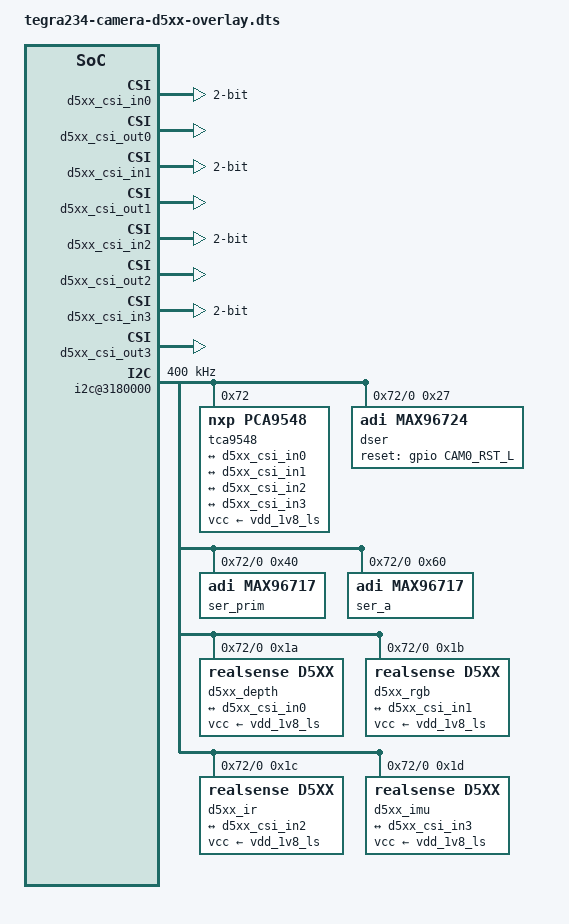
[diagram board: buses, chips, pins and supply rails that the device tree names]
// SPDX-License-Identifier: GPL-2.0-only
// SPDX-FileCopyrightText: Copyright (c) 2026, RealSense CORPORATION.  All rights reserved.

/*
 * Device tree overlay for RealSense D585-3C depth camera with:
 *   Serializer:   MAX96717
 *   Deserializer: MAX96724
 *   Camera SoC:   HKR
 *   I2C Mux:      TCA9548
 *
 * VC assignment
 *   VC0 = Depth  (Z16,  1280x720  @60fps)
 *   VC1 = RGB    (YUY2, 1920x1080 @30fps)
 *   VC2 = IR     (Y8/Y8I/Y12I, 1280x720 @60fps)
 *   VC3 = IMU    (RAW8)
 *
 * GMSL link:
 *   GMSL2 Tunnel Mode, 6 Gbps
 *   HKR MIPI Tx → MAX96717: 4-lane CSI-2
 *   MAX96724 → Orin NVCSI:  2-lane CSI-2 (SC20190112 board routes only D0/D1)
 *
 * I2C address map (7-bit):
 *   TCA9548  mux:    0x72  (same as D4xx deser board)
 *   MAX96724 deser:  0x27  (user-confirmed)
 *   MAX96717 ser:    0x40  (default), 0x60 (aliased, user-confirmed)
 *   HKR camera SoC:  0x10  (def-addr)
 *   Sensor aliases:   0x1a (Depth), 0x1b (RGB), 0x1c (IR), 0x1d (IMU)
 *
 * The four logical streams follow the D5xx driver stream model:
 * Depth=0, RGB=1, IR=2, IMU=3.
 */

/dts-v1/;
/plugin/;

#include <dt-bindings/clock/tegra234-clock.h>
#include <dt-bindings/gpio/tegra234-gpio.h>
#include <dt-bindings/tegra234-p3737-0000+p3701-0000.h>

#define CAM0_RST_L	TEGRA234_MAIN_GPIO(H, 3)
#define CAMERA_I2C_MUX_BUS(x) (0x1E + x)

/ {
	overlay-name = "Jetson RealSense Camera D5xx with max96724 and tca9548";
	jetson-header-name = "Jetson AGX CSI Connector";
	compatible = JETSON_COMPATIBLE;

	fragment@0 {
		target-path = "/";
		__overlay__ {
			tegra-capture-vi {
				/* 4 channels: Depth(VC0), RGB(VC1), IR(VC2), IMU(VC3) */
				num-channels = <4>;
				ports {
					status = "okay";

					/* VC0: Depth — Z16 1280x720 @60fps */
					port@0 {
						status = "okay";
						reg = <0>;
						d5xx_vi_in0: endpoint {
							status = "okay";
							vc-id = <0>;
							port-index = <0>;
							bus-width = <2>; /* 2-lane CSI from MAX96724 (SC20190112: only D0/D1 routed) */
							remote-endpoint = <&d5xx_csi_out0>;
						};
					};

					/* VC1: RGB — YUY2 1920x1080 @30fps */
					port@1 {
						status = "okay";
						reg = <1>;
						d5xx_vi_in1: endpoint {
							status = "okay";
							vc-id = <1>;
							port-index = <0>;
							bus-width = <2>;
							remote-endpoint = <&d5xx_csi_out1>;
						};
					};

					/* VC2: IR — Y8/Y8I/Y12I 1280x720 @60fps */
					port@2 {
						status = "okay";
						reg = <2>;
						d5xx_vi_in2: endpoint {
							status = "okay";
							vc-id = <2>;
							port-index = <0>;
							bus-width = <2>;
							remote-endpoint = <&d5xx_csi_out2>;
						};
					};

					/* VC3: IMU — RAW8 */
					port@3 {
						status = "okay";
						reg = <3>;
						d5xx_vi_in3: endpoint {
							status = "okay";
							vc-id = <3>;
							port-index = <0>;
							bus-width = <2>;
							remote-endpoint = <&d5xx_csi_out3>;
						};
					};
				};
			};

			bus@0 {
				host1x@13e00000 {
					nvcsi@15a00000 {
						num-channels = <4>;

						/* NVCSI channel 0: Depth (VC0) */
						channel@0 {
							status = "okay";
							reg = <0>;
							ports {
								status = "okay";
								port@0 {
									status = "okay";
									reg = <0>;
									d5xx_csi_in0: endpoint@0 {
										status = "okay";
										port-index = <0>;
									bus-width = <2>;
										vc-id = <0>;

										remote-endpoint = <&d5xx_depth_out>;
									};
								};
								port@1 {
									status = "okay";
									reg = <1>;
									d5xx_csi_out0: endpoint@1 {
										status = "okay";
										remote-endpoint = <&d5xx_vi_in0>;
									};
								};
							};
						};

						/* NVCSI channel 1: RGB (VC1) */
						channel@1 {
							status = "okay";
							reg = <1>;
							ports {
								status = "okay";
								port@0 {
									status = "okay";
									reg = <0>;
									d5xx_csi_in1: endpoint@2 {
										status = "okay";
										port-index = <0>;
									bus-width = <2>;
										vc-id = <1>;

										remote-endpoint = <&d5xx_rgb_out>;
									};
								};
								port@1 {
									status = "okay";
									reg = <1>;
									d5xx_csi_out1: endpoint@3 {
										status = "okay";
										remote-endpoint = <&d5xx_vi_in1>;
									};
								};
							};
						};

						/* NVCSI channel 2: IR (VC2) */
						channel@2 {
							status = "okay";
							reg = <2>;
							ports {
								status = "okay";
								port@0 {
									status = "okay";
									reg = <0>;
									d5xx_csi_in2: endpoint@4 {
										status = "okay";
										port-index = <0>;
									bus-width = <2>;
										vc-id = <2>;
									remote-endpoint = <&d5xx_ir_out>;
									};
								};
								port@1 {
									status = "okay";
									reg = <1>;
									d5xx_csi_out2: endpoint@5 {
										status = "okay";
										remote-endpoint = <&d5xx_vi_in2>;
									};
								};
							};
						};

						/* NVCSI channel 3: IMU (VC3) */
						channel@3 {
							status = "okay";
							reg = <3>;
							ports {
								status = "okay";
								port@0 {
									status = "okay";
									reg = <0>;
									d5xx_csi_in3: endpoint@6 {
										status = "okay";
										port-index = <0>;
									bus-width = <2>;
										vc-id = <3>;
									remote-endpoint = <&d5xx_imu_out>;
									};
								};
								port@1 {
									status = "okay";
									reg = <1>;
									d5xx_csi_out3: endpoint@7 {
										status = "okay";
										remote-endpoint = <&d5xx_vi_in3>;
									};
								};
							};
						};
					};
				};

				i2c@3180000 {
					clock-frequency = <400000>;
					tca9548@72 {
						status = "okay";
						reg = <0x72>;
						compatible = "nxp,pca9548";
						#address-cells = <1>;
						#size-cells = <0>;
						skip_mux_detect = "yes";
						vcc-supply = <&vdd_1v8_ls>;
						force_bus_start = <CAMERA_I2C_MUX_BUS(0)>;
						vcc_lp = "vcc";

						i2c@0 {
							status = "okay";
							reg = <0>;
							i2c-mux,deselect-on-exit;
							#address-cells = <1>;
							#size-cells = <0>;

							/*
							 * MAX96724 Deserializer
							 * [DS2] MAX96724 Datasheet rev4
							 * I2C addr: 0x27 (7-bit, user-confirmed)
							 * csi-mode: "2x4" — XML baseline, Controller1→PortA 2-lane output
							 * max-src: 1 — single D585 camera on link B
							 * gmsl-link-speed: 6 — 6Gbps (matching XML reference)
							 * csi-mode: "2x4" — phy_1x4a mode, Controller1→PortA, only PHY0(2 lane) enabled
							 */
							dser: max96724@27 {
								status = "okay";
								reg = <0x27>;
								compatible = "adi,max96724";
								csi-mode = "2x4";
								max-src = <1>;
								gmsl-link-speed = <6>;
								reset-gpios = <&gpio CAM0_RST_L GPIO_ACTIVE_HIGH>;
							};

							/*
							 * MAX96717 primary serializer node at power-on address.
							 * max96717_setup_control() uses this handle to move
							 * the serializer from 0x40 to the aliased 0x60 address.
							 */
							ser_prim: max96717_prim@40 {
								status = "okay";
								compatible = "adi,max96717";
								reg = <0x40>;
								is-prim-ser;
							};

							/*
							 * MAX96717 Serializer alias used after address reassignment.
							 * [DS1] MAX96717 Datasheet rev6
							 * [HAS] Section 1.2: "GMSL serializer (MAX96717)"
							 * I2C alias addr: 0x60 (7-bit, user-confirmed)
							 * MAX96717 has single 4-lane CSI-2 D-PHY input
							 */
							ser_a: max96717_a@60 {
								status = "okay";
								compatible = "adi,max96717";
								reg = <0x60>;
								maxim,gmsl-dser-device = <&dser>;
							};

							/*
							 * D585 Depth stream — VC0
							 * [HAS] Table 3-5: Depth, Z16, 1280x720, 60fps, VC0
							 * [HAS] Section 4.1: "HKR assigns output streams to
							 *        MIPI VC: Depth→VC0"
							 *
							 * def-addr: 0x10 = HKR SoC I2C base
							 * reg: 0x1a = primary aliased address (user-confirmed)
							 */
							d5xx_depth: d5xx@1a {
								status = "okay";
								def-addr = <0x10>;
								reg = <0x1a>;
								compatible = "realsense,d5xx";
								use_sensor_mode_id = "true";
								vcc-supply = <&vdd_1v8_ls>;
								cam-type = "Depth";
								nvidia,gmsl-ser-device = <&ser_a>;
								nvidia,gmsl-dser-device = <&dser>;

								ports {
									#address-cells = <1>;
									#size-cells = <0>;

									port@0 {
										reg = <0>;
										d5xx_depth_out: endpoint {
											vc-id = <0>;
											port-index = <0>;
										bus-width = <2>;
											remote-endpoint = <&d5xx_csi_in0>;
										};
									};
								};

								/*
								 * Depth mode: Z16 (16bpp), 1280x720
								 * [HAS] Table 3-5: "Z16 (16-bit depth), 1280×720, 60fps"
								 * [FAS] Table 4-1: "Depth - VC0, DT 0x1E (YUV422), 16bpp"
								 * num_lanes: 2 — MAX96724 outputs 2 CSI lanes via SC20190112
								 * embedded_metadata_height: 1 — depth metadata row
								 */
								mode0 {
									pixel_t = "yuv_uyvy16";
									num_lanes = "2";
									csi_pixel_bit_depth = "16";
									active_w = "1280";
									active_h = "720";
									tegra_sinterface = "serial_a";
									phy_mode = "DPHY";
									discontinuous_clk = "no";
									mclk_khz = "24000";
									pix_clk_hz = "175000000";
									line_length = "1280";
									embedded_metadata_height = "1";
								};

								/*
								 * GMSL link config for Depth stream
								 * src-csi-port: "a" — MAX96717 single CSI input port
								 *   [DS1] MAX96717 has one 4-lane D-PHY CSI-2 input (Port A)
								 * dst-csi-port: "a" — MAX96724 CSI output port A
								 * serdes-csi-link: "b" — GMSL Link B (cable on port B)
								 * csi-mode: "1x4" — single link, 4 video pipes
								 * st-vc: 0 — starting VC offset
								 * vc-id: 0 — [HAS] Table 3-5: Depth → VC0
								 * num-lanes: 2 — SC20190112 only routes 2 CSI lanes to Orin
								 */
								gmsl-link {
									src-csi-port = "a";
									dst-csi-port = "a";
									serdes-csi-link = "a";
									csi-mode = "1x4";
									st-vc = <0>;
									vc-id = <0>;
									num-lanes = <2>;
								};
							};

							/*
							 * D585 RGB stream — VC1
							 * RGB follows the D5xx stream model as stream 1 / VC1.
							 *
							 * def-addr: 0x10 = HKR SoC I2C base
							 * reg: 0x1b = aliased address
							 * override_reg: 0x1a = redirect to primary node
							 */
							d5xx_rgb: d5xx@1b {
								status = "okay";
								def-addr = <0x10>;
								reg = <0x1b>;
								override_reg = <0x1a>;
								compatible = "realsense,d5xx";
								use_sensor_mode_id = "true";
								vcc-supply = <&vdd_1v8_ls>;
								cam-type = "RGB";
								nvidia,gmsl-ser-device = <&ser_a>;
								nvidia,gmsl-dser-device = <&dser>;

								ports {
									#address-cells = <1>;
									#size-cells = <0>;

									port@0 {
										reg = <0>;
										d5xx_rgb_out: endpoint {
											vc-id = <1>;
											port-index = <0>;
										bus-width = <2>;
											remote-endpoint = <&d5xx_csi_in1>;
										};
									};
								};

								/*
								 * RGB mode: YUY2 (16bpp), 1920x1080
								 * embedded_metadata_height: 1 — RGB metadata row
								 */
								mode0 {
									pixel_t = "yuv_yuyv16";
									num_lanes = "2";
									csi_pixel_bit_depth = "16";
									active_w = "1920";
									active_h = "1080";
									tegra_sinterface = "serial_a";
									phy_mode = "DPHY";
									discontinuous_clk = "no";
									mclk_khz = "24000";
									pix_clk_hz = "175000000";
									line_length = "1920";
									embedded_metadata_height = "1";
								};

								gmsl-link {
									src-csi-port = "a";
									dst-csi-port = "a";
									serdes-csi-link = "a";
									csi-mode = "1x4";
									st-vc = <1>;
									vc-id = <1>;
									num-lanes = <2>;
								};
							};

							/*
							 * D585 IR stream — VC2
							 * Y8, Y8I, and Y12I are mutually exclusive formats on
							 * one logical IR stream, not separate left/right nodes.
							 *
							 * def-addr: 0x10 = HKR SoC I2C base
							 * reg: 0x1c = aliased address
							 * override_reg: 0x1a = redirect to primary node
							 */
							d5xx_ir: d5xx@1c {
								status = "okay";
								def-addr = <0x10>;
								reg = <0x1c>;
								override_reg = <0x1a>;
								compatible = "realsense,d5xx";
								use_sensor_mode_id = "true";
								vcc-supply = <&vdd_1v8_ls>;
								cam-type = "Y8";
								nvidia,gmsl-ser-device = <&ser_a>;
								nvidia,gmsl-dser-device = <&dser>;

								ports {
									#address-cells = <1>;
									#size-cells = <0>;

									port@0 {
										reg = <0>;
										d5xx_ir_out: endpoint {
											vc-id = <2>;
											port-index = <0>;
										bus-width = <2>;
											remote-endpoint = <&d5xx_csi_in2>;
										};
									};
								};

								/*
								 * IR mode: Y8/Y8I/Y12I, 1280x720
								 * embedded_metadata_height: 1 — IR metadata row
								 */
								mode0 {
									pixel_t = "grey_y8";
									num_lanes = "2";
									csi_pixel_bit_depth = "8";
									active_w = "1280";
									active_h = "720";
									tegra_sinterface = "serial_a";
									phy_mode = "DPHY";
									discontinuous_clk = "no";
									mclk_khz = "24000";
									pix_clk_hz = "175000000";
									line_length = "1280";
									embedded_metadata_height = "1";
								};

								gmsl-link {
									src-csi-port = "a";
									dst-csi-port = "a";
									serdes-csi-link = "a";
									csi-mode = "1x4";
									st-vc = <2>;
									vc-id = <2>;
									num-lanes = <2>;
								};
							};

							/*
							 * D585 IMU stream — VC3
							 * IMU follows the D5xx stream model as stream 3 / VC3.
							 *
							 * def-addr: 0x10 = HKR SoC I2C base
							 * reg: 0x1d = aliased address
							 * override_reg: 0x1a = redirect to primary node
							 */
							d5xx_imu: d5xx@1d {
								status = "okay";
								def-addr = <0x10>;
								reg = <0x1d>;
								override_reg = <0x1a>;
								compatible = "realsense,d5xx";
								use_sensor_mode_id = "true";
								vcc-supply = <&vdd_1v8_ls>;
								cam-type = "IMU";
								nvidia,gmsl-ser-device = <&ser_a>;
								nvidia,gmsl-dser-device = <&dser>;

								ports {
									#address-cells = <1>;
									#size-cells = <0>;

									port@0 {
										reg = <0>;
										d5xx_imu_out: endpoint {
											vc-id = <3>;
											port-index = <0>;
										bus-width = <2>;
											remote-endpoint = <&d5xx_csi_in3>;
										};
									};
								};

								/*
								 * IMU mode: RAW8 logical stream on VC3.
								 * embedded_metadata_height: 0 — IMU has no metadata row.
								 */
								mode0 {
									pixel_t = "grey_y8";
									num_lanes = "2";
									csi_pixel_bit_depth = "8";
									active_w = "640";
									active_h = "480";
									tegra_sinterface = "serial_a";
									phy_mode = "DPHY";
									discontinuous_clk = "no";
									mclk_khz = "24000";
									pix_clk_hz = "175000000";
									line_length = "1280";
									embedded_metadata_height = "0";
								};

								gmsl-link {
									src-csi-port = "a";
									dst-csi-port = "a";
									serdes-csi-link = "a";
									csi-mode = "1x4";
									st-vc = <3>;
									vc-id = <3>;
									num-lanes = <2>;
								};
							};
						};
					};
				};
			};
		};
	};
};
